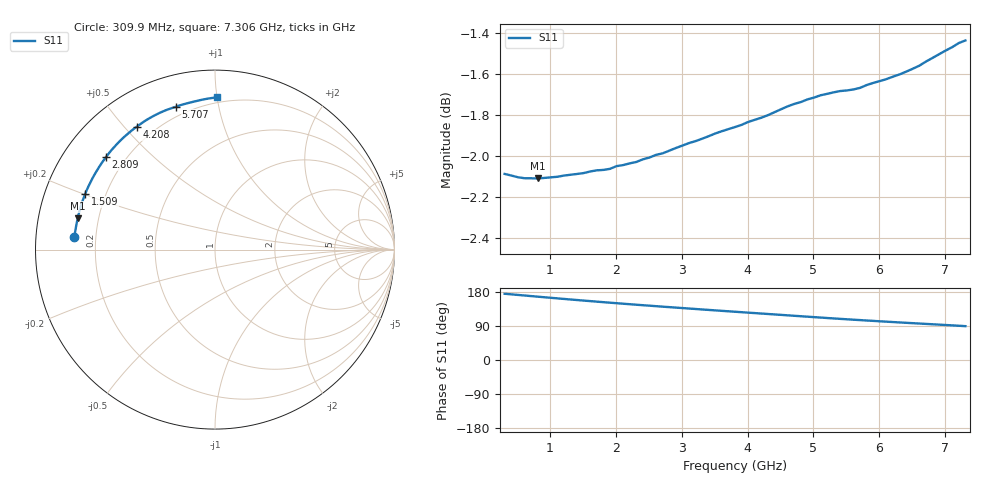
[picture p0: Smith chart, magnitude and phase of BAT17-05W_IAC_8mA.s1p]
! Infineon Technologies  Discrete & RF Semiconductors
! BAT17-05W
! IAC = 8 mA
! One-Port S-Parameters
# Hz  S  MA  R  50
!f  S11
!Hz  Mag  Ang
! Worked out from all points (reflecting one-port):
!   71 points, 309.9 MHz to 7.306 GHz, reference 50 ohm
!   lowest |S11| = -2.1 dB at 809.6 MHz (marker M1), VSWR 8.28, Z = 6.11 + j5.53 ohm
!   phase of S11 starts at 175 deg and turns -85 deg over the sweep
!   S11 on the Smith chart (normalised r, x): 309.9 MHz: 0.12, +0.04; 1.509 GHz: 0.12, +0.20; 2.809 GHz: 0.13, +0.36; 4.208 GHz: 0.13, +0.54; 5.707 GHz: 0.15, +0.75; 7.306 GHz: 0.17, +1.00
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3.0985e8  0.7865 174.8
6.097e8  0.7846 170.3
8.096e8  0.7845 167.2
1.0095e9  0.785 164.2
1.2094e9  0.7857 161.2
1.50925e9  0.7868 156.8
1.70915e9  0.7881 154.0
2.009e9  0.7899 149.9
2.10895e9  0.7904 148.5
2.4088e9  0.7929 144.6
2.6087e9  0.7949 142.0
2.8086e9  0.7967 139.5
3.0085e9  0.7991 137.1
3.10845e9  0.8002 135.8
3.50825e9  0.8045 130.9
3.8081e9  0.8074 127.3
4.2079e9  0.8116 122.6
4.50775e9  0.8155 119.1
4.70765e9  0.8179 116.7
4.90755e9  0.82 114.3
5.2074e9  0.8225 110.8
5.4073e9  0.8238 108.5
5.6072e9  0.8246 106.3
5.70715e9  0.8253 105.3
6.007e9  0.8284 102.2
6.50675e9  0.8341 97.2
6.90655e9  0.8409 93.4
7.30635e9  0.8475 89.3
